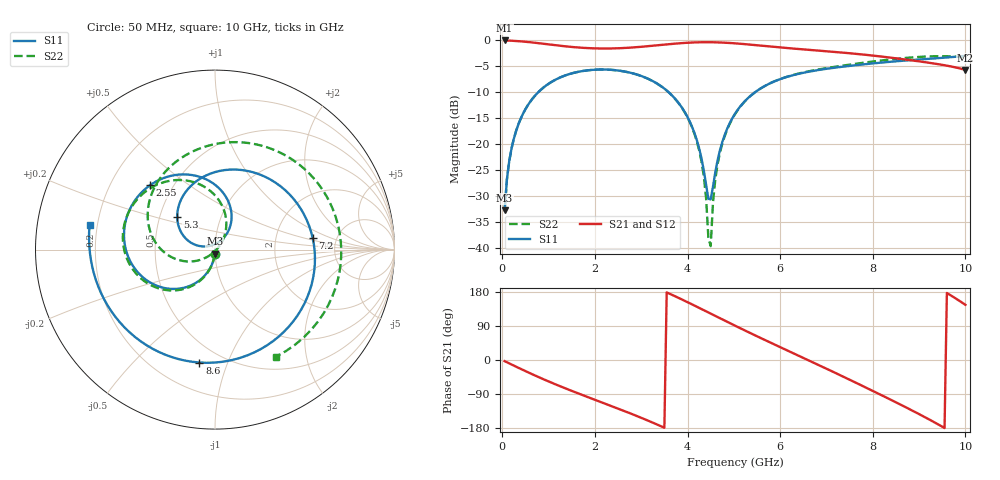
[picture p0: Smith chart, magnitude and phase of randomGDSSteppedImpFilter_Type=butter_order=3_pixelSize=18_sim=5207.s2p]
! freq	dB(S11)	phase(S11)	dB(S12)	phase(S12)
!  dB(S21)	phase(S21)	dB(S22)	phase(S22)
!S-par simulation data
#  GHz  S  DB  R 50
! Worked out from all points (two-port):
!   200 points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, 50 MHz to 10 GHz, reference 50 ohm
!   highest |S21| = -0.01 dB at 50 MHz (marker M1); lowest = -5.7 dB at 10 GHz (marker M2)
!   |S21| within 3 dB of the highest: start of sweep to 8.091 GHz
!   lowest |S11| = -32.7 dB at 50 MHz (marker M3), VSWR 1.05, Z = 49.8 - j2.3 ohm
!   |S11| at or under -10 dB: start of sweep to 773.9 MHz; 3.596 GHz to 5.453 GHz (1.857 GHz wide, 41.1 % of centre)
!   |S22| runs from -39.6 to -3.0 dB; largest |S21 - S12| = 0
!   S11 on the Smith chart (normalised r, x): 50 MHz: 1.00, -0.05; 2.55 GHz: 0.37, +0.36; 5.3 GHz: 0.62, +0.24; 7.2 GHz: 3.31, +0.60; 8.6 GHz: 0.38, -0.80; 10 GHz: 0.17, +0.09
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0.05  -32.73 -93.1  -0.01 -3.0  -0.01 -3.0  -32.73 -92.9
0.2  -20.78 -102.6  -0.06 -11.9  -0.06 -11.9  -20.78 -102.1
0.5  -13.23 -120.5  -0.26 -29.3  -0.26 -29.3  -13.23 -119.2
1.1  -7.79 -153.7  -0.87 -61.7  -0.87 -61.7  -7.79 -150.8
1.75  -5.87 173.8  -1.43 -93.3  -1.43 -93.3  -5.87 178.6
2.55  -5.85 135.4  -1.49 -130.6  -1.49 -130.6  -5.85 142.9
3.4  -8.63 91.9  -0.89 -173.3  -0.89 -173.3  -8.64 102.5
4.15  -17.83 54.4  -0.38 143.7  -0.38 143.7  -18.00 61.2
4.35  -24.98 58.5  -0.34 131.6  -0.34 131.6  -26.06 46.2
4.45  -30.49 91.7  -0.34 125.5  -0.34 125.5  -37.98 18.7
4.5  -30.61 125.7  -0.34 122.5  -0.34 122.5  -39.61 -92.8
4.55  -28.13 149.7  -0.35 119.4  -0.35 119.4  -31.16 -125.3
4.65  -23.04 165.6  -0.38 113.3  -0.38 113.3  -23.78 -138.1
5.05  -13.79 154.3  -0.58 89.1  -0.58 89.1  -13.86 -162.7
5.3  -11.15 139.4  -0.76 74.3  -0.76 74.3  -11.18 -175.6
6  -7.46 93.5  -1.34 34.0  -1.34 34.0  -7.43 151.9
6.7  -5.89 44.0  -1.87 -5.7  -1.87 -5.7  -5.80 123.2
7.2  -5.22 6.7  -2.23 -34.5  -2.23 -34.5  -5.05 103.5
8.35  -4.13 -79.8  -3.27 -102.6  -3.27 -102.6  -3.69 54.1
8.6  -3.94 -97.9  -3.55 -117.8  -3.55 -117.8  -3.46 41.6
9.4  -3.42 -152.7  -4.55 -169.1  -4.55 -169.1  -3.04 -6.6
10  -2.95 168.9  -5.67 145.6  -5.67 145.6  -3.27 -60.5
